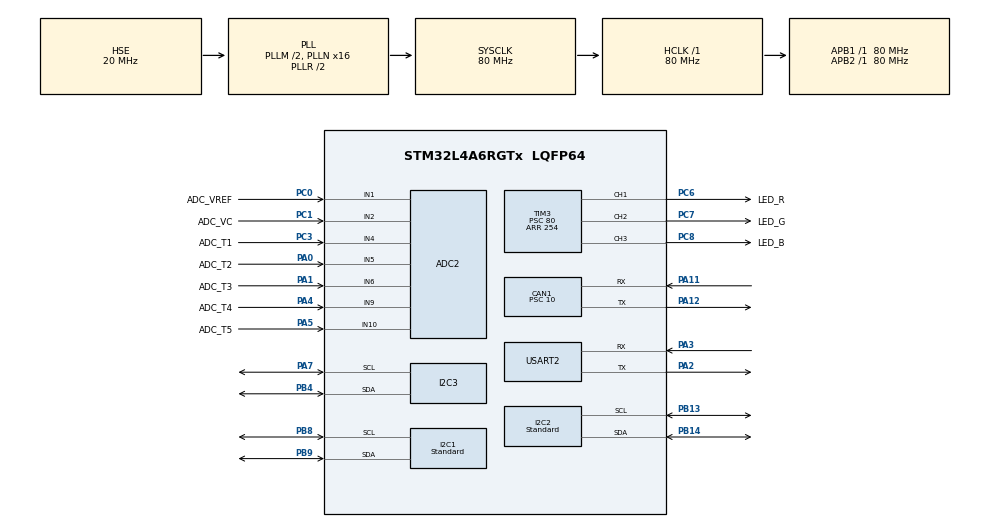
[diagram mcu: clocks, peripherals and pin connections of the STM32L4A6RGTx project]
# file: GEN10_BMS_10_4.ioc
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ADC2.Channel-0\#ChannelRegularConversion=ADC_CHANNEL_1
ADC2.NbrOfConversionFlag=1
ADC2.OffsetNumber-0\#ChannelRegularConversion=ADC_OFFSET_NONE
ADC2.Rank-0\#ChannelRegularConversion=1
ADC2.SamplingTime-0\#ChannelRegularConversion=ADC_SAMPLETIME_2CYCLES_5
CAN1.BS1=CAN_BS1_13TQ
CAN1.BS2=CAN_BS2_2TQ
CAN1.CalculateTimeQuantum=125.0
CAN1.Prescaler=10
Dma.Request0=USART2_RX
Dma.Request1=USART2_TX
Dma.USART2_RX.0.Direction=DMA_PERIPH_TO_MEMORY
Dma.USART2_RX.0.Instance=DMA1_Channel6
Dma.USART2_RX.0.MemDataAlignment=DMA_MDATAALIGN_BYTE
Dma.USART2_RX.0.MemInc=DMA_MINC_ENABLE
Dma.USART2_RX.0.Mode=DMA_CIRCULAR
Dma.USART2_RX.0.PeriphDataAlignment=DMA_PDATAALIGN_BYTE
Dma.USART2_RX.0.PeriphInc=DMA_PINC_DISABLE
Dma.USART2_RX.0.Priority=DMA_PRIORITY_LOW
Dma.USART2_TX.1.Direction=DMA_MEMORY_TO_PERIPH
Dma.USART2_TX.1.Instance=DMA1_Channel7
Dma.USART2_TX.1.MemDataAlignment=DMA_MDATAALIGN_BYTE
Dma.USART2_TX.1.MemInc=DMA_MINC_ENABLE
Dma.USART2_TX.1.Mode=DMA_NORMAL
Dma.USART2_TX.1.PeriphDataAlignment=DMA_PDATAALIGN_BYTE
Dma.USART2_TX.1.PeriphInc=DMA_PINC_DISABLE
Dma.USART2_TX.1.Priority=DMA_PRIORITY_LOW
FREERTOS.INCLUDE_eTaskGetState=1
FREERTOS.INCLUDE_vTaskDelayUntil=1
FREERTOS.INCLUDE_xTaskAbortDelay=1
FREERTOS.INCLUDE_xTaskGetCurrentTaskHandle=1
FREERTOS.INCLUDE_xTaskGetHandle=1
FREERTOS.Tasks01=defaultTask,0,256,StartDefaultTask,Default,NULL,Dynamic,NULL,NULL
FREERTOS.configMINIMAL_STACK_SIZE=256
FREERTOS.configTIMER_TASK_PRIORITY=5
FREERTOS.configTOTAL_HEAP_SIZE=131072
FREERTOS.configUSE_TICKLESS_IDLE=1
FREERTOS.configUSE_TIMERS=1
I2C1.I2C_Speed_Mode=I2C_Standard
I2C2.I2C_Speed_Mode=I2C_Standard
Mcu.Family=STM32L4
Mcu.Name=STM32L4A6RGTx
Mcu.Package=LQFP64
NVIC.DMA1_Channel6_IRQn=true\:5\:0\:false\:false\:true\:true\:false\:true
NVIC.DMA1_Channel7_IRQn=true\:5\:0\:false\:false\:true\:true\:false\:true
NVIC.PriorityGroup=NVIC_PRIORITYGROUP_4
NVIC.TIM6_DAC_IRQn=true\:0\:0\:false\:false\:true\:false\:false\:true
NVIC.TimeBase=TIM6_DAC_IRQn
NVIC.TimeBaseIP=TIM6
PA0.GPIO_Label=ADC_T2
PA0.Signal=ADCx_IN5
PA1.GPIO_Label=ADC_T3
PA1.Signal=ADCx_IN6
PA11.Mode=Master
PA11.Signal=CAN1_RX
PA12.Mode=Master
PA12.Signal=CAN1_TX
PA13\ (JTMS/SWDIO).Mode=Serial_Wire
PA13\ (JTMS/SWDIO).Signal=SYS_JTMS-SWDIO
PA14\ (JTCK/SWCLK).Mode=Serial_Wire
PA14\ (JTCK/SWCLK).Signal=SYS_JTCK-SWCLK
PA2.Mode=Asynchronous
PA2.Signal=USART2_TX
PA3.Mode=Asynchronous
PA3.Signal=USART2_RX
PA4.GPIO_Label=ADC_T4
PA4.Signal=ADCx_IN9
PA5.GPIO_Label=ADC_T5
PA5.Signal=ADCx_IN10
PA7.Mode=I2C
PA7.Signal=I2C3_SCL
PB13.Mode=I2C
PB13.Signal=I2C2_SCL
PB14.Mode=I2C
PB14.Signal=I2C2_SDA
PB4\ (NJTRST).Mode=I2C
PB4\ (NJTRST).Signal=I2C3_SDA
PB8.Mode=I2C
PB8.Signal=I2C1_SCL
PB9.Mode=I2C
PB9.Signal=I2C1_SDA
PC0.GPIO_Label=ADC_VREF
PC0.Signal=ADCx_IN1
PC1.GPIO_Label=ADC_VC
PC1.Signal=ADCx_IN2
PC3.GPIO_Label=ADC_T1
PC3.Signal=ADCx_IN4
PC6.GPIO_Label=LED_R
PC6.Signal=S_TIM3_CH1
PC7.GPIO_Label=LED_G
PC7.Signal=S_TIM3_CH2
PC8.GPIO_Label=LED_B
PC8.Signal=S_TIM3_CH3
PH0-OSC_IN\ (PH0).Mode=HSE-External-Clock-Source
PH0-OSC_IN\ (PH0).Signal=RCC_OSC_IN
ProjectManager.HeapSize=0x200
ProjectManager.StackSize=0x400
ProjectManager.TargetToolchain=STM32CubeIDE
RCC.ADCFreq_Value=40000000
RCC.AHBFreq_Value=80000000
RCC.APB1Freq_Value=80000000
RCC.APB1TimFreq_Value=80000000
RCC.APB2Freq_Value=80000000
RCC.APB2TimFreq_Value=80000000
RCC.CortexFreq_Value=80000000
RCC.HCLKFreq_Value=80000000
RCC.HSE_VALUE=20000000
RCC.HSI48_VALUE=48000000
RCC.HSI_VALUE=16000000
RCC.LSE_VALUE=32768
RCC.MSI_VALUE=4000000
RCC.PLLM=2
RCC.PLLN=16
RCC.PLLSourceVirtual=RCC_PLLSOURCE_HSE
RCC.SYSCLKFreq_VALUE=80000000
RCC.SYSCLKSource=RCC_SYSCLKSOURCE_PLLCLK
RCC.USBFreq_Value=40000000
RCC.VCOOutputFreq_Value=160000000
SH.ADCx_IN1.0=ADC2_IN1,IN1-Single-Ended
SH.ADCx_IN10.0=ADC2_IN10,IN10-Single-Ended
SH.ADCx_IN2.0=ADC2_IN2,IN2-Single-Ended
SH.ADCx_IN4.0=ADC2_IN4,IN4-Single-Ended
SH.ADCx_IN5.0=ADC2_IN5,IN5-Single-Ended
SH.ADCx_IN6.0=ADC2_IN6,IN6-Single-Ended
SH.ADCx_IN9.0=ADC2_IN9,IN9-Single-Ended
SH.S_TIM3_CH1.0=TIM3_CH1,PWM Generation1 CH1
SH.S_TIM3_CH2.0=TIM3_CH2,PWM Generation2 CH2
SH.S_TIM3_CH3.0=TIM3_CH3,PWM Generation3 CH3
TIM3.AutoReloadPreload=TIM_AUTORELOAD_PRELOAD_ENABLE
TIM3.Channel-PWM\ Generation1\ CH1=TIM_CHANNEL_1
TIM3.Channel-PWM\ Generation2\ CH2=TIM_CHANNEL_2
TIM3.Channel-PWM\ Generation3\ CH3=TIM_CHANNEL_3
TIM3.OCPolarity_1=TIM_OCPOLARITY_LOW
TIM3.OCPolarity_2=TIM_OCPOLARITY_LOW
TIM3.OCPolarity_3=TIM_OCPOLARITY_LOW
TIM3.Period=254
TIM3.Prescaler=80
USART2.VirtualMode-Asynchronous=VM_ASYNC
VP_FREERTOS_VS_CMSIS_V1.Mode=CMSIS_V1
VP_SYS_VS_tim6.Mode=TIM6
board=custom

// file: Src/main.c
/* USER CODE BEGIN Header */
/**
  ******************************************************************************
  * @file           : main.c
  * @brief          : Main program body
  ******************************************************************************
  * @attention
  *
  * <h2><center>&copy; Copyright (c) 2019 STMicroelectronics.
  * All rights reserved.</center></h2>
  *
  * This software component is licensed by ST under BSD 3-Clause license,
  * the "License"; You may not use this file except in compliance with the
  * License. You may obtain a copy of the License at:
  *                        opensource.org/licenses/BSD-3-Clause
  *
  ******************************************************************************
  */
/* USER CODE END Header */

#include "main.h"
#include "cmsis_os.h"

/* USER CODE BEGIN Includes */
#include <string.h>
#include "bq76925.h"
#include <stdlib.h>
#include <stdio.h>
#include "BssrL4Can.h"
#include "buart.h"
#define UART_EN 1 // change to 1 to enable all uart in main.c
/* USER CODE END Includes */

ADC_HandleTypeDef hadc2;

CAN_HandleTypeDef hcan1;

I2C_HandleTypeDef hi2c1;
I2C_HandleTypeDef hi2c2;
I2C_HandleTypeDef hi2c3;

TIM_HandleTypeDef htim3;

UART_HandleTypeDef huart2;
DMA_HandleTypeDef hdma_usart2_rx;
DMA_HandleTypeDef hdma_usart2_tx;

osThreadId defaultTaskHandle;
/* USER CODE BEGIN PV */
B_uartHandle_t* buart;
osThreadId adcReadTaskHandle;
int adc1count = 0;
int adc2count = 0;
double adc1sum = 0.0;
uint32_t adc2sum = 0;
int adcWorking = 0;

osThreadId bqTaskHandle;
BQ_t bq;
ADC_ChannelConfTypeDef adc2_channel;
int logReq = 0; // for uart log flag
//char msg[120];  // to save the uart messages

char uart_input;
/* USER CODE END PV */

void SystemClock_Config(void);
static void MX_GPIO_Init(void);
static void MX_DMA_Init(void);
static void MX_CAN1_Init(void);
static void MX_I2C1_Init(void);
static void MX_I2C2_Init(void);
static void MX_I2C3_Init(void);
static void MX_USART2_UART_Init(void);
static void MX_ADC2_Init(void);
static void MX_TIM3_Init(void);
void StartDefaultTask(void const * argument);

/* USER CODE BEGIN PFP */
void StartAdcReadTask(void const *argument);
void StartBqTask(void const *argument);

void BqStatusUpdateDoneCallback(BQ_t *);
void BqI2cTxCallback(BQ_t *);
void BqI2cRxCallback(BQ_t *);
void BqBatSetCallback(BQ_t *);
void BqBatDoneCallback(BQ_t *);

void setADC2Channel(uint8_t channel);
void logBqResultsUart();
void logBqResultsCan();

// TODO CAN related
void CAN_INIT(void);

/* USER CODE END PFP */

int main(void)
{

  /* MCU Configuration--------------------------------------------------------*/

  /* Reset of all peripherals, Initializes the Flash interface and the Systick. */
  HAL_Init();

  /* Configure the system clock */
  SystemClock_Config();

  /* USER CODE BEGIN SysInit */
  LAUNCH_armNuke();
  /* USER CODE END SysInit */

  /* Initialize all configured peripherals */
  MX_GPIO_Init();
  MX_DMA_Init();
  MX_CAN1_Init();
  MX_I2C1_Init();
  MX_I2C2_Init();
  MX_I2C3_Init();
  MX_USART2_UART_Init();
  MX_ADC2_Init();
  MX_TIM3_Init();
  /* USER CODE BEGIN 2 */
  buart = B_uartStart(&huart2);
  /* USER CODE END 2 */

  /* Create the thread(s) */
  /* definition and creation of defaultTask */
  osThreadDef(defaultTask, StartDefaultTask, osPriorityNormal, 0, 256);
  defaultTaskHandle = osThreadCreate(osThread(defaultTask), NULL);

  /* USER CODE BEGIN RTOS_THREADS */
  /* add threads, ... */
  osThreadDef(adcReadTask, StartAdcReadTask, osPriorityNormal, 0, 128);
  adcReadTaskHandle = osThreadCreate(osThread(adcReadTask), NULL);

  osThreadDef(bqTask, StartBqTask, osPriorityAboveNormal, 0, 128);
  bqTaskHandle = osThreadCreate(osThread(bqTask), NULL);
  /* USER CODE END RTOS_THREADS */

  /* Start scheduler */
  osKernelStart();

  /* We should never get here as control is now taken by the scheduler */

  /* Infinite loop */
  while (1)
  {

  }
}

void SystemClock_Config(void)
{
  RCC_OscInitTypeDef RCC_OscInitStruct = {0};
  RCC_ClkInitTypeDef RCC_ClkInitStruct = {0};
  RCC_PeriphCLKInitTypeDef PeriphClkInit = {0};

  /** Initializes the CPU, AHB and APB busses clocks
  */
  RCC_OscInitStruct.OscillatorType = RCC_OSCILLATORTYPE_HSE;
  RCC_OscInitStruct.HSEState = RCC_HSE_BYPASS;
  RCC_OscInitStruct.PLL.PLLState = RCC_PLL_ON;
  RCC_OscInitStruct.PLL.PLLSource = RCC_PLLSOURCE_HSE;
  RCC_OscInitStruct.PLL.PLLM = 2;
  RCC_OscInitStruct.PLL.PLLN = 16;
  RCC_OscInitStruct.PLL.PLLP = RCC_PLLP_DIV2;
  RCC_OscInitStruct.PLL.PLLQ = RCC_PLLQ_DIV2;
  RCC_OscInitStruct.PLL.PLLR = RCC_PLLR_DIV2;
  if (HAL_RCC_OscConfig(&RCC_OscInitStruct) != HAL_OK)
  {
    Error_Handler();
  }
  /** Initializes the CPU, AHB and APB busses clocks
  */
  RCC_ClkInitStruct.ClockType = RCC_CLOCKTYPE_HCLK|RCC_CLOCKTYPE_SYSCLK
                              |RCC_CLOCKTYPE_PCLK1|RCC_CLOCKTYPE_PCLK2;
  RCC_ClkInitStruct.SYSCLKSource = RCC_SYSCLKSOURCE_PLLCLK;
  RCC_ClkInitStruct.AHBCLKDivider = RCC_SYSCLK_DIV1;
  RCC_ClkInitStruct.APB1CLKDivider = RCC_HCLK_DIV1;
  RCC_ClkInitStruct.APB2CLKDivider = RCC_HCLK_DIV1;

  if (HAL_RCC_ClockConfig(&RCC_ClkInitStruct, FLASH_LATENCY_4) != HAL_OK)
  {
    Error_Handler();
  }
  PeriphClkInit.PeriphClockSelection = RCC_PERIPHCLK_USART2|RCC_PERIPHCLK_I2C1
                              |RCC_PERIPHCLK_I2C2|RCC_PERIPHCLK_I2C3
                              |RCC_PERIPHCLK_ADC;
  PeriphClkInit.Usart2ClockSelection = RCC_USART2CLKSOURCE_PCLK1;
  PeriphClkInit.I2c1ClockSelection = RCC_I2C1CLKSOURCE_PCLK1;
  PeriphClkInit.I2c2ClockSelection = RCC_I2C2CLKSOURCE_PCLK1;
  PeriphClkInit.I2c3ClockSelection = RCC_I2C3CLKSOURCE_PCLK1;
  PeriphClkInit.AdcClockSelection = RCC_ADCCLKSOURCE_PLLSAI1;
  PeriphClkInit.PLLSAI1.PLLSAI1Source = RCC_PLLSOURCE_HSE;
  PeriphClkInit.PLLSAI1.PLLSAI1M = 2;
  PeriphClkInit.PLLSAI1.PLLSAI1N = 8;
  PeriphClkInit.PLLSAI1.PLLSAI1P = RCC_PLLP_DIV2;
  PeriphClkInit.PLLSAI1.PLLSAI1Q = RCC_PLLQ_DIV2;
  PeriphClkInit.PLLSAI1.PLLSAI1R = RCC_PLLR_DIV2;
  PeriphClkInit.PLLSAI1.PLLSAI1ClockOut = RCC_PLLSAI1_ADC1CLK;
  if (HAL_RCCEx_PeriphCLKConfig(&PeriphClkInit) != HAL_OK)
  {
    Error_Handler();
  }
  /** Configure the main internal regulator output voltage
  */
  if (HAL_PWREx_ControlVoltageScaling(PWR_REGULATOR_VOLTAGE_SCALE1) != HAL_OK)
  {
    Error_Handler();
  }
}

static void MX_ADC2_Init(void)
{

  ADC_ChannelConfTypeDef sConfig = {0};

  /** Common config
  */
  hadc2.Instance = ADC2;
  hadc2.Init.ClockPrescaler = ADC_CLOCK_ASYNC_DIV1;
  hadc2.Init.Resolution = ADC_RESOLUTION_12B;
  hadc2.Init.DataAlign = ADC_DATAALIGN_RIGHT;
  hadc2.Init.ScanConvMode = ADC_SCAN_DISABLE;
  hadc2.Init.EOCSelection = ADC_EOC_SINGLE_CONV;
  hadc2.Init.LowPowerAutoWait = DISABLE;
  hadc2.Init.ContinuousConvMode = DISABLE;
  hadc2.Init.NbrOfConversion = 1;
  hadc2.Init.DiscontinuousConvMode = DISABLE;
  hadc2.Init.ExternalTrigConv = ADC_SOFTWARE_START;
  hadc2.Init.ExternalTrigConvEdge = ADC_EXTERNALTRIGCONVEDGE_NONE;
  hadc2.Init.DMAContinuousRequests = DISABLE;
  hadc2.Init.Overrun = ADC_OVR_DATA_PRESERVED;
  hadc2.Init.OversamplingMode = DISABLE;
  if (HAL_ADC_Init(&hadc2) != HAL_OK)
  {
    Error_Handler();
  }
  /** Configure Regular Channel
  */
  sConfig.Channel = ADC_CHANNEL_1;
  sConfig.Rank = ADC_REGULAR_RANK_1;
  sConfig.SamplingTime = ADC_SAMPLETIME_2CYCLES_5;
  sConfig.SingleDiff = ADC_SINGLE_ENDED;
  sConfig.OffsetNumber = ADC_OFFSET_NONE;
  sConfig.Offset = 0;
  if (HAL_ADC_ConfigChannel(&hadc2, &sConfig) != HAL_OK)
  {
    Error_Handler();
  }

}

static void MX_CAN1_Init(void)
{

  hcan1.Instance = CAN1;
  hcan1.Init.Prescaler = 10;
  hcan1.Init.Mode = CAN_MODE_NORMAL;
  hcan1.Init.SyncJumpWidth = CAN_SJW_1TQ;
  hcan1.Init.TimeSeg1 = CAN_BS1_13TQ;
  hcan1.Init.TimeSeg2 = CAN_BS2_2TQ;
  hcan1.Init.TimeTriggeredMode = DISABLE;
  hcan1.Init.AutoBusOff = DISABLE;
  hcan1.Init.AutoWakeUp = DISABLE;
  hcan1.Init.AutoRetransmission = DISABLE;
  hcan1.Init.ReceiveFifoLocked = DISABLE;
  hcan1.Init.TransmitFifoPriority = DISABLE;
  if (HAL_CAN_Init(&hcan1) != HAL_OK)
  {
    Error_Handler();
  }

}

static void MX_I2C1_Init(void)
{

  hi2c1.Instance = I2C1;
  hi2c1.Init.Timing = 0x10909CEC;
  hi2c1.Init.OwnAddress1 = 0;
  hi2c1.Init.AddressingMode = I2C_ADDRESSINGMODE_7BIT;
  hi2c1.Init.DualAddressMode = I2C_DUALADDRESS_DISABLE;
  hi2c1.Init.OwnAddress2 = 0;
  hi2c1.Init.OwnAddress2Masks = I2C_OA2_NOMASK;
  hi2c1.Init.GeneralCallMode = I2C_GENERALCALL_DISABLE;
  hi2c1.Init.NoStretchMode = I2C_NOSTRETCH_DISABLE;
  if (HAL_I2C_Init(&hi2c1) != HAL_OK)
  {
    Error_Handler();
  }
  /** Configure Analogue filter
  */
  if (HAL_I2CEx_ConfigAnalogFilter(&hi2c1, I2C_ANALOGFILTER_ENABLE) != HAL_OK)
  {
    Error_Handler();
  }
  /** Configure Digital filter
  */
  if (HAL_I2CEx_ConfigDigitalFilter(&hi2c1, 0) != HAL_OK)
  {
    Error_Handler();
  }

}

static void MX_I2C2_Init(void)
{

  hi2c2.Instance = I2C2;
  hi2c2.Init.Timing = 0x10909CEC;
  hi2c2.Init.OwnAddress1 = 0;
  hi2c2.Init.AddressingMode = I2C_ADDRESSINGMODE_7BIT;
  hi2c2.Init.DualAddressMode = I2C_DUALADDRESS_DISABLE;
  hi2c2.Init.OwnAddress2 = 0;
  hi2c2.Init.OwnAddress2Masks = I2C_OA2_NOMASK;
  hi2c2.Init.GeneralCallMode = I2C_GENERALCALL_DISABLE;
  hi2c2.Init.NoStretchMode = I2C_NOSTRETCH_DISABLE;
  if (HAL_I2C_Init(&hi2c2) != HAL_OK)
  {
    Error_Handler();
  }
  /** Configure Analogue filter
  */
  if (HAL_I2CEx_ConfigAnalogFilter(&hi2c2, I2C_ANALOGFILTER_ENABLE) != HAL_OK)
  {
    Error_Handler();
  }
  /** Configure Digital filter
  */
  if (HAL_I2CEx_ConfigDigitalFilter(&hi2c2, 0) != HAL_OK)
  {
    Error_Handler();
  }

}

static void MX_I2C3_Init(void)
{

  hi2c3.Instance = I2C3;
  hi2c3.Init.Timing = 0x10909CEC;
  hi2c3.Init.OwnAddress1 = 0;
  hi2c3.Init.AddressingMode = I2C_ADDRESSINGMODE_7BIT;
  hi2c3.Init.DualAddressMode = I2C_DUALADDRESS_DISABLE;
  hi2c3.Init.OwnAddress2 = 0;
  hi2c3.Init.OwnAddress2Masks = I2C_OA2_NOMASK;
  hi2c3.Init.GeneralCallMode = I2C_GENERALCALL_DISABLE;
  hi2c3.Init.NoStretchMode = I2C_NOSTRETCH_DISABLE;
  if (HAL_I2C_Init(&hi2c3) != HAL_OK)
  {
    Error_Handler();
  }
  /** Configure Analogue filter
  */
  if (HAL_I2CEx_ConfigAnalogFilter(&hi2c3, I2C_ANALOGFILTER_ENABLE) != HAL_OK)
  {
    Error_Handler();
  }
  /** Configure Digital filter
  */
  if (HAL_I2CEx_ConfigDigitalFilter(&hi2c3, 0) != HAL_OK)
  {
    Error_Handler();
  }

}

static void MX_TIM3_Init(void)
{

  TIM_MasterConfigTypeDef sMasterConfig = {0};
  TIM_OC_InitTypeDef sConfigOC = {0};

  htim3.Instance = TIM3;
  htim3.Init.Prescaler = 80;
  htim3.Init.CounterMode = TIM_COUNTERMODE_UP;
  htim3.Init.Period = 254;
  htim3.Init.ClockDivision = TIM_CLOCKDIVISION_DIV1;
  htim3.Init.AutoReloadPreload = TIM_AUTORELOAD_PRELOAD_ENABLE;
  if (HAL_TIM_PWM_Init(&htim3) != HAL_OK)
  {
    Error_Handler();
  }
  sMasterConfig.MasterOutputTrigger = TIM_TRGO_RESET;
  sMasterConfig.MasterSlaveMode = TIM_MASTERSLAVEMODE_DISABLE;
  if (HAL_TIMEx_MasterConfigSynchronization(&htim3, &sMasterConfig) != HAL_OK)
  {
    Error_Handler();
  }
  sConfigOC.OCMode = TIM_OCMODE_PWM1;
  sConfigOC.Pulse = 0;
  sConfigOC.OCPolarity = TIM_OCPOLARITY_LOW;
  sConfigOC.OCFastMode = TIM_OCFAST_DISABLE;
  if (HAL_TIM_PWM_ConfigChannel(&htim3, &sConfigOC, TIM_CHANNEL_1) != HAL_OK)
  {
    Error_Handler();
  }
  if (HAL_TIM_PWM_ConfigChannel(&htim3, &sConfigOC, TIM_CHANNEL_2) != HAL_OK)
  {
    Error_Handler();
  }
  if (HAL_TIM_PWM_ConfigChannel(&htim3, &sConfigOC, TIM_CHANNEL_3) != HAL_OK)
  {
    Error_Handler();
  }
  HAL_TIM_MspPostInit(&htim3);

}

static void MX_USART2_UART_Init(void)
{

  huart2.Instance = USART2;
  huart2.Init.BaudRate = 115200;
  huart2.Init.WordLength = UART_WORDLENGTH_8B;
  huart2.Init.StopBits = UART_STOPBITS_1;
  huart2.Init.Parity = UART_PARITY_NONE;
  huart2.Init.Mode = UART_MODE_TX_RX;
  huart2.Init.HwFlowCtl = UART_HWCONTROL_NONE;
  huart2.Init.OverSampling = UART_OVERSAMPLING_16;
  huart2.Init.OneBitSampling = UART_ONE_BIT_SAMPLE_DISABLE;
  huart2.AdvancedInit.AdvFeatureInit = UART_ADVFEATURE_NO_INIT;
  if (HAL_UART_Init(&huart2) != HAL_OK)
  {
    Error_Handler();
  }

}

static void MX_DMA_Init(void)
{

  /* DMA controller clock enable */
  __HAL_RCC_DMA1_CLK_ENABLE();

  /* DMA interrupt init */
  /* DMA1_Channel6_IRQn interrupt configuration */
  HAL_NVIC_SetPriority(DMA1_Channel6_IRQn, 5, 0);
  HAL_NVIC_EnableIRQ(DMA1_Channel6_IRQn);
  /* DMA1_Channel7_IRQn interrupt configuration */
  HAL_NVIC_SetPriority(DMA1_Channel7_IRQn, 5, 0);
  HAL_NVIC_EnableIRQ(DMA1_Channel7_IRQn);

}

static void MX_GPIO_Init(void)
{
  GPIO_InitTypeDef GPIO_InitStruct = {0};

  /* GPIO Ports Clock Enable */
  __HAL_RCC_GPIOC_CLK_ENABLE();
  __HAL_RCC_GPIOH_CLK_ENABLE();
  __HAL_RCC_GPIOA_CLK_ENABLE();
  __HAL_RCC_GPIOB_CLK_ENABLE();
  __HAL_RCC_GPIOD_CLK_ENABLE();

  /*Configure GPIO pins : PC13 PC14 PC15 PC2
                           PC4 PC5 PC9 PC10
                           PC11 PC12 */
  GPIO_InitStruct.Pin = GPIO_PIN_13|GPIO_PIN_14|GPIO_PIN_15|GPIO_PIN_2
                          |GPIO_PIN_4|GPIO_PIN_5|GPIO_PIN_9|GPIO_PIN_10
                          |GPIO_PIN_11|GPIO_PIN_12;
  GPIO_InitStruct.Mode = GPIO_MODE_ANALOG;
  GPIO_InitStruct.Pull = GPIO_NOPULL;
  HAL_GPIO_Init(GPIOC, &GPIO_InitStruct);

  /*Configure GPIO pins : PH1 PH3 */
  GPIO_InitStruct.Pin = GPIO_PIN_1|GPIO_PIN_3;
  GPIO_InitStruct.Mode = GPIO_MODE_ANALOG;
  GPIO_InitStruct.Pull = GPIO_NOPULL;
  HAL_GPIO_Init(GPIOH, &GPIO_InitStruct);

  /*Configure GPIO pins : PA6 PA8 PA9 PA10
                           PA15 */
  GPIO_InitStruct.Pin = GPIO_PIN_6|GPIO_PIN_8|GPIO_PIN_9|GPIO_PIN_10
                          |GPIO_PIN_15;
  GPIO_InitStruct.Mode = GPIO_MODE_ANALOG;
  GPIO_InitStruct.Pull = GPIO_NOPULL;
  HAL_GPIO_Init(GPIOA, &GPIO_InitStruct);

  /*Configure GPIO pins : PB0 PB1 PB2 PB10
                           PB11 PB12 PB15 PB3
                           PB5 PB6 PB7 */
  GPIO_InitStruct.Pin = GPIO_PIN_0|GPIO_PIN_1|GPIO_PIN_2|GPIO_PIN_10
                          |GPIO_PIN_11|GPIO_PIN_12|GPIO_PIN_15|GPIO_PIN_3
                          |GPIO_PIN_5|GPIO_PIN_6|GPIO_PIN_7;
  GPIO_InitStruct.Mode = GPIO_MODE_ANALOG;
  GPIO_InitStruct.Pull = GPIO_NOPULL;
  HAL_GPIO_Init(GPIOB, &GPIO_InitStruct);

  /*Configure GPIO pin : PD2 */
  GPIO_InitStruct.Pin = GPIO_PIN_2;
  GPIO_InitStruct.Mode = GPIO_MODE_ANALOG;
  GPIO_InitStruct.Pull = GPIO_NOPULL;
  HAL_GPIO_Init(GPIOD, &GPIO_InitStruct);

}

/* USER CODE BEGIN 4 */
void setADC2Channel(uint8_t channel)
{
    static unsigned channelList[] = {
        ADC_CHANNEL_0, ADC_CHANNEL_1, ADC_CHANNEL_2, ADC_CHANNEL_3, ADC_CHANNEL_4,
        ADC_CHANNEL_5, ADC_CHANNEL_6, ADC_CHANNEL_7, ADC_CHANNEL_8, ADC_CHANNEL_9,
        ADC_CHANNEL_10, ADC_CHANNEL_11};
    adc2_channel.Channel = channelList[channel];
    adc2_channel.Rank = ADC_REGULAR_RANK_1;
    adc2_channel.SamplingTime = 12.5;
    adc2_channel.SingleDiff = ADC_SINGLE_ENDED;
    adc2_channel.OffsetNumber = ADC_OFFSET_NONE;
    adc2_channel.Offset = 0x000;
    HAL_ADC_ConfigChannel(&hadc2, &adc2_channel);
}

void StartAdcReadTask(void const *argument)
{
  /*
    HAL_UART_Receive_IT(&huart2, &uart_input, 1);
    // HAL_ADC_Start_IT(&hadc1);
    // #if UART_EN == 0
      HAL_UART_Transmit_IT(&huart2, "\r\n\r\nStart ADC read\r\n", strlen("\r\n\r\nStart ADC read\r\n"));
    // #endif
    setADC2Channel(2);
    HAL_ADC_Start_IT(&hadc2);
    adcWorking = 1;*/

    // char s[10] = "Alive\r\n";
    // HAL_ADC_Start(&hadc2);
    for (;;)
    {
        // HAL_UART_Transmit_IT(&huart2, s, strlen(s));
        // HAL_GPIO_TogglePin(GPIOC, LED_G_Pin);
        // HAL_ADC_PollForConversion(&hadc2, 1000);
        // int a = HAL_ADC_GetValue(&hadc2);
        // char msg[50];
        // sprintf(msg, "ADC Value %d\r\n", a);
        // HAL_UART_Transmit(&huart2, buffer, strlen(buffer), 100);
        // if (HAL_ADC_STATE_READY & HAL_ADC_GetState(&hadc2)) HAL_ADC_Start_IT(&hadc2);
        osDelay(HAL_MAX_DELAY);
    }
}

void HAL_ADC_LevelOutOfWindowCallback(ADC_HandleTypeDef *hadc)
{
  #if UART_EN == 1
	uint8_t* msg = pvPortMalloc(128);
    sprintf(msg, "HAL_ADC_LevelOutOfWindowCallback ERROR!\r\nREBOOTING...\r\n\r\n");
//    HAL_UART_Transmit(&huart2, msg, strlen(msg), 100);
    B_uartSend(buart, msg, strlen(msg));
    vPortFree(msg);
  #endif
    HAL_NVIC_SystemReset(); // rebooting the MCU
    for (;;)
        ;
}
void HAL_ADC_ErrorCallback(ADC_HandleTypeDef *hadc)
{
  #if UART_EN == 1
	uint8_t* msg = pvPortMalloc(128);
    sprintf(msg, "HAL_ADC_ErrorCallback ERROR!\r\nREBOOTING...\r\n\r\n");
//    HAL_UART_Transmit(&huart2, msg, strlen(msg), 100);
    B_uartSend(buart, msg, strlen(msg));
    vPortFree(msg);
  #endif
    HAL_NVIC_SystemReset(); // rebooting the MCU
    for (;;)
        ;
}

void HAL_ADC_ConvCpltCallback(ADC_HandleTypeDef *hadc)
{
    // if(hadc == &hadc1){
    // adc1sum += HAL_ADC_GetValue(&hadc1);
    // adc1count++;
    // }else
    int adc2Val;
    if (hadc == &hadc2)
    {
        //	adc2sum =hadc->Instance->DR;
        adc2Val = HAL_ADC_GetValue(hadc);
        adc2sum += adc2Val;
        adc2count++;
    }
    //adc2sum += HAL_ADC_GetValue(hadc);
    //char buffer[50];
    // int val = (adc2Val*3333)/4096;
    //sprintf(buffer, "ADC Value %d\r\n", adc2Val);
    //HAL_UART_Transmit(&huart2, buffer, strlen(buffer), 100);
    // HAL_ADC_Start_IT(&hadc2);
}

//void HAL_UART_RxCpltCallback (UART_HandleTypeDef *huart){
//  HAL_UART_Transmit_IT(&huart2, "Got data\r\n", strlen("Got data\r\n"));
//  // int id = (BSSR_CAN_TX_DEVICE_ID << 3) + 2;
//  // uint8_t data[CAN_ITEM_SIZE];
//  // uint32_t mVolt, mTemp;
//  //   mVolt = 5000;
//  //   mTemp = 373000;
//
//  //   // change format of the data
//  //   for (int byteIndex = 0; byteIndex < CAN_ITEM_SIZE / 2; byteIndex ++ ){
//  //     data[byteIndex] = mVolt & 0xFF;
//  //     mVolt >>= 8;
//
//  //     data[byteIndex + CAN_ITEM_SIZE / 2] = mTemp & 0xFF;
//  //     mTemp >>= 8;
//  //   }
//  // BSSR_CAN_Tx(id, data);
//  // HAL_UART_Transmit_IT(&huart2, "Sending test data\r\n", strlen("Sending test data\r\n"));
//  // HAL_UART_Receive_IT(&huart2, &uart_input, 1);
//}

void voltageCheck(uint8_t voltageIndex) {
    // check for upper limit

}

void StartBqTask(void const *argument)
{
    bq.i2c = &hi2c2;
    bq.nSetOfData = 0;
    bq.statusUpdateDone = BqStatusUpdateDoneCallback;
    bq.i2cTxCallback = BqI2cTxCallback;
    bq.i2cRxCallback = BqI2cRxCallback;
    bq.batSetCallback = BqBatSetCallback;
    bq.batDoneCallback = BqBatDoneCallback;
    bq.overSampleNum = 1;

    BQ_setRefSel(&bq, 1);
    BQ_setSleep(&bq, 0);
    int cnt = 0;
//    sprintf(msg, "Try connecting the I2C %d times......\r\n", cnt++);
//    int res = HAL_UART_Transmit(&huart2, msg, strlen(msg), 1000);
    while (BQ_ERROR == BQ_i2cTest(&bq))
    {
   	// osDelay(10);
        // ERROR here
    	uint8_t* msg = pvPortMalloc(128);
        sprintf(msg, "Try connecting the I2C %d times......\r\n", cnt++);
        B_uartSend(buart, msg, strlen(msg));
        vPortFree(msg);
        #if UART_EN == 1
          HAL_UART_Transmit(&huart2, msg, strlen(msg), 1000);
        #endif
        #ifdef I2C_RETRY_TIMES
          if (cnt > I2C_RETRY_TIMES) {
            HAL_NVIC_SystemReset();
          }
        #endif
    }
    #if CAN_ENABLED == 1
    //HAL_UART_Transmit(&huart2, "Starting CAN Tasks\r\n", strlen("Starting CAN Tasks\r\n"), 100);
      CAN_INIT();
    #endif
    int data;
    // bq.regMap[CELL_CTL_ADDRESS] = 0b00000;
    BQ_updateStatus_IT(&bq);

    while(!adcWorking) osDelay(0);

    int bq_cnt = 0;
    double voltages[7];
    double ADC_result;

    for (;;)
    {
        // HAL_UART_Transmit_IT(&huart2, s, strlen(s));
        // HAL_GPIO_TogglePin(GPIOC, LED_G_Pin);
        if (bq.adcRunning && adc2count >= bq.overSampleNum)
        {
            /* TODO stop ADC reading here */
            ADC_result = (1.0 * adc2sum / adc2count); // this should equals (ADC_Count / ADC_FULL_SCALE_COUNT)
            // ADC_result = 2929. / 4096.;// NOTE test only

            bq.adcRunning = 0;
            if (bq.mode == BQ_MODE_VOLTAGE)
            {
                BQ_readBattery(&bq, 0, 0);
            }
            else
            {
                BQ_readTemp(&bq, 0, 0);
            }
        }
        else if (bq.readDone && adc2count >= bq.overSampleNum) // read I2C values
        {

            // if (bq.batIndex <= 6)
            /* calibrate first !!!! */
            /**
             * Read final data and move to the next channel
             * Order:
             *      ADC Cali    readBat 7, 1
             *      ADC Cali    readBat 8, 1
             *      Voltage 1-6 readBat [1...6], 0
             *      Temp 1-5    readTemp [1...5], 1
             *  */

            int voltageIndex = bq.batIndex;
            // osDelay(10); // wait for all adc done
            if (bq.mode == BQ_MODE_TEMPERATURE)
            {
                double volt = BQ_getTempVoltage(&bq, ADC_result, &huart2);
                double resis = BQ_getTempResists(&bq, volt);
                double temp = BQ_getTempResult(&bq, volt);
                // sprintf(msg, "Temp:%4d\tTemp:%d'C\tRes:%6dohm\tADC:%6d\tVolt:%6dmv\r\n",
                //         bq.tempIndex, (int) (temp), (int) (resis) , (int)ADC_result, (int) (volt * 1000));
                // HAL_UART_Transmit(&huart2, msg, strlen(msg), 1000);

                // if (!bq.nSetOfData && BQ_GOOD != BQ_checkTemp(&bq, bq.tempIndex)) {
                //     char * warningMsg = BQ_getWarningMsg(&bq);
                //     sprintf(msg, "TEMP WARNING: %s\r\n", warningMsg);
                //     HAL_UART_Transmit(&huart2, msg, strlen(msg), 1000);
                // }

                // start new query
                if (bq.tempIndex == 1)
                {
                    setADC2Channel(5);
                    BQ_readTemp(&bq, 2, 1);
                }
                else if (bq.tempIndex == 2)
                {
                    setADC2Channel(6);
                    BQ_readTemp(&bq, 3, 1);
                }
                else if (bq.tempIndex == 3)
                {
                    setADC2Channel(9);
                    BQ_readTemp(&bq, 4, 1);
                }
                else if (bq.tempIndex == 4)
                {
                    setADC2Channel(10);
                    BQ_readTemp(&bq, 5, 1);
                }
                else if (bq.tempIndex == 5)
                {
                    setADC2Channel(2);
                    bq.mode = BQ_MODE_VOLTAGE;
                    BQ_readBattery(&bq, 7, 1);

                    if (bq.nSetOfData > 0) {
                      logBqResultsCan();
                    }
                    bq.nSetOfData  = bq.nSetOfData % 4000000000 + 1;

                    // #if CAN_ENABLED == 1
                    //   // TODO Transmit DATA to the CAN
                    //   for (int i = 1; i <= 5; i++){
                    //     uint8_t data[8];
                    //     uint32_t volt, temp;

                    //     BSSR_CAN_Tx(i, data);
                    //   }
                    // #endif
                }
            }
            else if (voltageIndex <= 6)
            {
                double VCOUT = BQ_getVoltageFromAdc(&bq, ADC_result);
                double voltage = BQ_getVoltage(&bq, ADC_result, NULL);
                // voltage += (voltageIndex > 1 ? voltages[voltageIndex - 1] : 0);
                voltages[voltageIndex] = voltage;
                // sprintf(msg, "Bat:%d\tVoltage:%6dmv\tADC:%5d\tVcout:%6dmv\r\n", (int)bq.batIndex, (int)(voltage * 1000.), (int)(ADC_result), (int)(VCOUT * 1000.));
                // HAL_UART_Transmit(&huart2, msg, strlen(msg), 1000);

                if (!bq.nSetOfData && BQ_GOOD != BQ_checkVoltage(&bq, voltageIndex)) {
                    char * warningMsg = BQ_getWarningMsg(&bq);
                    // sprintf(msg, "VOLTAGE WARNING: %s\r\n", warningMsg);
                    // HAL_UART_Transmit(&huart2, msg, strlen(msg), 1000);
                }

                if (voltageIndex < 5)
                {
                    BQ_readBattery(&bq, voltageIndex + 1, 0);
                }
                else
                {
                    setADC2Channel(4);
                    bq.mode = BQ_MODE_TEMPERATURE;
                    BQ_readTemp(&bq, 1, 1);
                }
            }
            else if (voltageIndex == 7) // check for 0.5x Vref
            {
                bq.cali.vref_0_5 = ADC_result;
                // sprintf(msg, "0.5xVref:\tADC:%d\r\n", (int)ADC_result);
                // HAL_UART_Transmit(&huart2, msg, strlen(msg), 1000);
                BQ_readBattery(&bq, 8, 1);
            }
            else if (voltageIndex == 8)
            {
                bq.cali.vref_0_8_5 = ADC_result;
                // sprintf(msg, "0.85xVref:\tADC:%d\r\n", (int)ADC_result);
                // HAL_UART_Transmit(&huart2, msg, strlen(msg), 1000);
                BQ_ADCCalibration(&bq);
                // sprintf(msg, "ADC Slope:%6d\tOffset:%6d\r\n", (int)bq.cali.slope, (int)bq.cali.offset);
                // HAL_UART_Transmit(&huart2, msg, strlen(msg), 1000);
                BQ_readBattery(&bq, 1, 0);
            }

            // stop adcRunning
            // BQ_setADCRunning(&bq, 0);
            adc2count = 0;
            adc2sum = 0;
            // switch to the next battery
            // BQ_readBattery(&bq, bq.batIndex % 6);// + 1);
            // BQ_readBattery(&bq, bq.batIndex % 8 + 1, (bq.batIndex % 8 + 1) > 6 ? 1 : 0);
        }
        else if (bq.adcRunning)
        {
            HAL_ADC_Start_IT(&hadc2);
            //			sprintf(msg, 'Status report: adc_running: %d, adc_count: %d\r\n', xxx, adc2count);
            //			HAL_UART_Transmit(&huart2, msg, strlen(msg), 1000);
        }
         // check for log
        // if (!bq.nSetOfData) logBqResultsCan();
        if (logReq) {
          logBqResultsUart();
          logReq = 0;
        }
        osDelay(0);
    }
}

void BqStatusUpdateDoneCallback(BQ_t *bq_ptr)
{
    // start to from battery 1
    // BQ_logAllReg(bq_ptr, &huart2);
    bq_ptr->mode = BQ_MODE_VOLTAGE;
    BQ_readBattery(bq_ptr, 7, 1);
}
void BqI2cTxCallback(BQ_t *bq_ptr)
{
    // USER defined I2C task callback
}
void BqI2cRxCallback(BQ_t *bq_ptr)
{
    // USER defined I2C task callback
}
void BqBatSetCallback(BQ_t *bq_ptr)
{
    /* TODO start ADC reading here */
    adc2count = 0;
    adc2sum = 0;
    // HAL_ADC_Start_IT(&hadc2);
}
void BqBatDoneCallback(BQ_t *bq_ptr)
{
    //BQ_logAllReg(bq_ptr, &huart2);
}

void HAL_I2C_MasterTxCpltCallback(I2C_HandleTypeDef *hi2c)
{
    BQ_I2cCallback(&bq, hi2c);
}

void HAL_I2C_MasterRxCpltCallback(I2C_HandleTypeDef *hi2c)
{
    BQ_I2cCallback(&bq, hi2c);
}

void CAN_INIT(void) {
  // BssrL4CAN bCan;
  // bCan.handle = &hcan1;
  // BSSR_CAN_Test(&bCan);
  BSSR_CAN_TASK_INIT(&hcan1, &huart2);
}

void logBqResultsCan() {
  static int canCnt = 0;
  uint32_t id = 0;
  uint8_t data[CAN_ITEM_SIZE];
  uint32_t mVolt, mTemp;
  for (int i = 1; i <= 5; i++) {
    id = (BSSR_CAN_TX_DEVICE_ID << 3) + i;

    mVolt = (int)(bq.cellVoltages[i] * 1000.);
    mTemp = (int)((bq.cellTemps[i] + 273.) * 1000.);

    // change format of the data
    for (int byteIndex = 0; byteIndex < CAN_ITEM_SIZE / 2; byteIndex ++ ){
      data[byteIndex] = mVolt & 0xFF;
      mVolt >>= 8;

      data[byteIndex + CAN_ITEM_SIZE / 2] = mTemp & 0xFF;
      mTemp >>= 8;
    }
    #if UART_EN == 1
      uint8_t* msg = pvPortMalloc(512);
      size_t ofst = 0;
      ofst += sprintf(msg+ofst, "CAN id: %4x data: ", id);
//      HAL_UART_Transmit(&huart2, msg, strlen(msg), 1000);
      for (int ti = CAN_ITEM_SIZE - 1; ti >= 0; ti--) {
        ofst += sprintf(msg+ofst, " %4x", data[ti]);
//        HAL_UART_Transmit(&huart2, msg, strlen(msg), 1000);
        if (ti == CAN_ITEM_SIZE / 2) {
          ofst += sprintf(msg+ofst, " | ");
//          HAL_UART_Transmit(&huart2, msg, strlen(msg), 1000);
        }
      }
      ofst += sprintf(msg+ofst, "\r\n");
      B_uartSend(buart, msg, ofst);
//      HAL_UART_Transmit(&huart2, msg, strlen(msg), 1000);
      vPortFree(msg);
    #endif

    #if CAN_ENABLED == 1
      BSSR_CAN_Tx(id, data);
      osDelay(0);
    #endif
  }
}

void logBqResultsUart() {
  #if UART_EN  == 1
	uint8_t* msg = pvPortMalloc(512);
    // log out all
    for (int i = 1; i <= 5; i ++) {
      size_t ofst = 0;
      // log the voltage first
      ofst += sprintf(msg+ofst, "Bat:%d\t\r\nVoltage:%6dmv\r\n", (int)i, (int)(bq.cellVoltages[i] * 1000.));
//      HAL_UART_Transmit(&huart2, msg, strlen(msg), 1000);

      // check for voltage warning
      if (BQ_GOOD != BQ_checkVoltage(&bq, i)) {
        char * warningMsg = BQ_getWarningMsg(&bq);
    	ofst += sprintf(msg+ofst, "========================================\r\n");
//        HAL_UART_Transmit(&huart2, msg, strlen(msg), 1000);
    	ofst += sprintf(msg+ofst, "|VOLTAGE WARNING: %21s|\r\n", warningMsg);
//        HAL_UART_Transmit(&huart2, msg, strlen(msg), 1000);
        ofst += sprintf(msg+ofst, "========================================\r\n");
//        HAL_UART_Transmit(&huart2, msg, strlen(msg), 1000);
      }

      // log the temps
      ofst += sprintf(msg+ofst, "Temp:%dmK\r\n", (int) ((bq.cellTemps[i] + 273.) * 1000.));
      HAL_UART_Transmit(&huart2, msg, strlen(msg), 1000);

      // check for temp warning
      if (BQ_GOOD != BQ_checkTemp(&bq, i)) {
        char * warningMsg = BQ_getWarningMsg(&bq);
    	ofst += sprintf(msg+ofst, "========================================\r\n");
//        HAL_UART_Transmit(&huart2, msg, strlen(msg), 1000);
    	ofst += sprintf(msg+ofst, "|TEMP WARNING: %24s|\r\n", warningMsg);
//        HAL_UART_Transmit(&huart2, msg, strlen(msg), 1000);
    	ofst += sprintf(msg+ofst, "========================================\r\n");
//        HAL_UART_Transmit(&huart2, msg, strlen(msg), 1000);
      }
      // if (i == 5) break;
      B_uartSend(buart, msg, ofst);
    }
    vPortFree(msg);
  #endif
}

/* USER CODE END 4 */

void StartDefaultTask(void const * argument)
{

  /* USER CODE BEGIN 5 */
    /* Infinite loop */
    //	HAL_UART_Transmit(&huart2, "Start default task\r\n", strlen("Start default task\r\n"), 100);
    int status = 0;
    for (;;)
    {
      HAL_GPIO_TogglePin(GPIOC, LED_B_Pin);
      if (status && bq.nSetOfData > 0) {
        // logBqResultsUart();
        logReq = 1;
      }
      status = !status;
      osDelay(status ? 800 : 200);
    }
  /* USER CODE END 5 */
}

void HAL_TIM_PeriodElapsedCallback(TIM_HandleTypeDef *htim)
{
  if (htim->Instance == TIM6) {
    HAL_IncTick();
  }
}

void Error_Handler(void)
{
}

/************************ (C) COPYRIGHT STMicroelectronics *****END OF FILE****/

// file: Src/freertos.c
/* USER CODE BEGIN Header */
/**
  ******************************************************************************
  * File Name          : freertos.c
  * Description        : Code for freertos applications
  ******************************************************************************
  * @attention
  *
  * <h2><center>&copy; Copyright (c) 2019 STMicroelectronics.
  * All rights reserved.</center></h2>
  *
  * This software component is licensed by ST under Ultimate Liberty license
  * SLA0044, the "License"; You may not use this file except in compliance with
  * the License. You may obtain a copy of the License at:
  *                             www.st.com/SLA0044
  *
  ******************************************************************************
  */
/* USER CODE END Header */

#include "FreeRTOS.h"
#include "task.h"
#include "main.h"

/* Pre/Post sleep processing prototypes */
void PreSleepProcessing(uint32_t *ulExpectedIdleTime);
void PostSleepProcessing(uint32_t *ulExpectedIdleTime);

/* USER CODE BEGIN PREPOSTSLEEP */
__weak void PreSleepProcessing(uint32_t *ulExpectedIdleTime)
{
/* place for user code */
}

__weak void PostSleepProcessing(uint32_t *ulExpectedIdleTime)
{
/* place for user code */
}
/* USER CODE END PREPOSTSLEEP */

/************************ (C) COPYRIGHT STMicroelectronics *****END OF FILE****/
